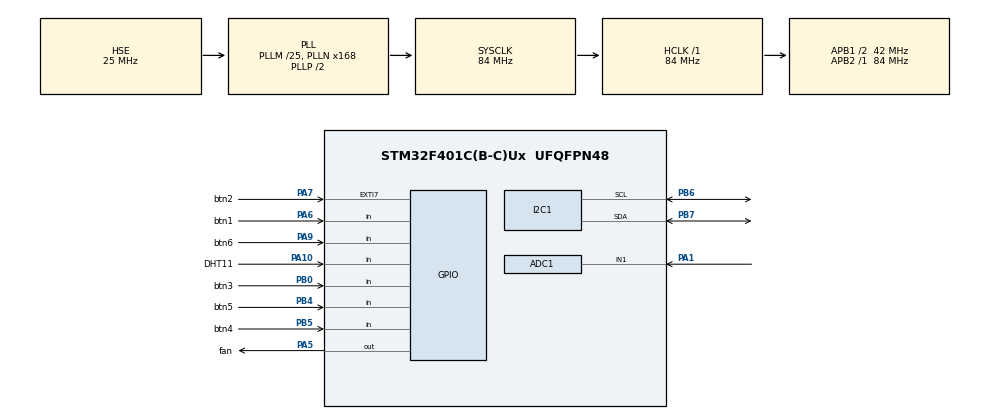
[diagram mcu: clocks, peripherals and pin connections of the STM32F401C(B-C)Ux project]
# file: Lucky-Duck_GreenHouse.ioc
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ADC1.Channel-3\#ChannelRegularConversion=ADC_CHANNEL_1
ADC1.ContinuousConvMode=ENABLE
ADC1.EOCSelection=ADC_EOC_SEQ_CONV
ADC1.NbrOfConversionFlag=1
ADC1.Rank-3\#ChannelRegularConversion=1
ADC1.Resolution=ADC_RESOLUTION_8B
ADC1.SamplingTime-3\#ChannelRegularConversion=ADC_SAMPLETIME_56CYCLES
ADC1.master=1
Mcu.Family=STM32F4
Mcu.Name=STM32F401C(B-C)Ux
Mcu.Package=UFQFPN48
NVIC.EXTI9_5_IRQn=true\:1\:0\:true\:false\:true\:true\:true\:true
NVIC.PriorityGroup=NVIC_PRIORITYGROUP_4
PA1.Signal=ADCx_IN1
PA10.GPIO_Label=DHT11
PA10.GPIO_PuPd=GPIO_NOPULL
PA10.Signal=GPIO_Input
PA13.Mode=Serial_Wire
PA13.Signal=SYS_JTMS-SWDIO
PA14.Mode=Serial_Wire
PA14.Signal=SYS_JTCK-SWCLK
PA5.GPIO_Label=fan
PA5.GPIO_Speed=GPIO_SPEED_FREQ_MEDIUM
PA5.Signal=GPIO_Output
PA6.GPIO_Label=btn1
PA6.GPIO_PuPd=GPIO_PULLUP
PA6.Signal=GPIO_Input
PA7.GPIO_Label=btn2
PA7.GPIO_PuPd=GPIO_PULLUP
PA7.Signal=GPXTI7
PA9.GPIO_Label=btn6
PA9.GPIO_PuPd=GPIO_PULLUP
PA9.Signal=GPIO_Input
PB0.GPIO_Label=btn3
PB0.GPIO_PuPd=GPIO_PULLUP
PB0.Signal=GPIO_Input
PB4.GPIO_Label=btn5
PB4.GPIO_PuPd=GPIO_PULLUP
PB4.Signal=GPIO_Input
PB5.GPIO_Label=btn4
PB5.GPIO_PuPd=GPIO_PULLUP
PB5.Signal=GPIO_Input
PB6.Mode=I2C
PB6.Signal=I2C1_SCL
PB7.Mode=I2C
PB7.Signal=I2C1_SDA
PC14-OSC32_IN.Mode=LSE-External-Oscillator
PC14-OSC32_IN.Signal=RCC_OSC32_IN
PC15-OSC32_OUT.Mode=LSE-External-Oscillator
PC15-OSC32_OUT.Signal=RCC_OSC32_OUT
PH0\ -\ OSC_IN.Mode=HSE-External-Oscillator
PH0\ -\ OSC_IN.Signal=RCC_OSC_IN
PH1\ -\ OSC_OUT.Mode=HSE-External-Oscillator
PH1\ -\ OSC_OUT.Signal=RCC_OSC_OUT
ProjectManager.HeapSize=0x200
ProjectManager.StackSize=0x400
ProjectManager.TargetToolchain=STM32CubeIDE
RCC.48MHZClocksFreq_Value=42000000
RCC.AHBFreq_Value=84000000
RCC.APB1CLKDivider=RCC_HCLK_DIV2
RCC.APB1Freq_Value=42000000
RCC.APB1TimFreq_Value=84000000
RCC.APB2Freq_Value=84000000
RCC.APB2TimFreq_Value=84000000
RCC.CortexFreq_Value=84000000
RCC.HCLKFreq_Value=84000000
RCC.HSE_VALUE=25000000
RCC.HSI_VALUE=16000000
RCC.PLLM=25
RCC.PLLN=168
RCC.PLLSourceVirtual=RCC_PLLSOURCE_HSE
RCC.SYSCLKFreq_VALUE=84000000
RCC.SYSCLKSource=RCC_SYSCLKSOURCE_PLLCLK
RCC.VCOOutputFreq_Value=168000000
RTC.Format=RTC_FORMAT_BIN
RTC.Hours=12
SH.ADCx_IN1.0=ADC1_IN1,IN1
TIM2.Period=0xffffffff -1
TIM2.Prescaler=84-1
VP_RTC_VS_RTC_Activate.Mode=RTC_Enabled
VP_RTC_VS_RTC_Calendar.Mode=RTC_Calendar
VP_TIM2_VS_ClockSourceINT.Mode=Internal
board=custom

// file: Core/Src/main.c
/* USER CODE BEGIN Header */
/**
 ******************************************************************************
 * @file           : main.c
 * @brief          : Main program body
 ******************************************************************************
 * @attention
 *
 * Copyright (c) 2024 STMicroelectronics.
 * All rights reserved.
 *
 * This software is licensed under terms that can be found in the LICENSE file
 * in the root directory of this software component.
 * If no LICENSE file comes with this software, it is provided AS-IS.
 *
 ******************************************************************************
 */
/* USER CODE END Header */
#include "main.h"

/* USER CODE BEGIN Includes */
#include "ssd1306.h"
#include "ssd1306_fonts.h"
#include <stdio.h>
#include <stdbool.h>
#include "sensors.h"
#include "mk_dht11.h"
#include "time.h"
/* USER CODE END Includes */

/* USER CODE BEGIN PTD */
struct info {
	char infoName[18];
	int set_val_min, set_val_max;
};
/* USER CODE END PTD */

/* USER CODE BEGIN PD */
#define work_state 0
#define menu_state 1
/* USER CODE END PD */

ADC_HandleTypeDef hadc1;

I2C_HandleTypeDef hi2c1;

RTC_HandleTypeDef hrtc;

TIM_HandleTypeDef htim2;

/* USER CODE BEGIN PV */
char menu[30], flag_t = 20;
bool menu_f = false;
dht11_t dht;
char state = work_state;
int set_l = 0, set_temp = 0;
struct info temp = { "temp sensor", 24, 25 };
struct info light = { "light sensor", 15, 90 };
/* USER CODE END PV */

void SystemClock_Config(void);
static void MX_GPIO_Init(void);
static void MX_ADC1_Init(void);
static void MX_I2C1_Init(void);
static void MX_TIM2_Init(void);
static void MX_RTC_Init(void);
/* USER CODE BEGIN PFP */
void menu_show();
void main_show();
/* USER CODE END PFP */

int main(void) {

	/* MCU Configuration--------------------------------------------------------*/

	/* Reset of all peripherals, Initializes the Flash interface and the Systick. */
	HAL_Init();

	/* Configure the system clock */
	SystemClock_Config();

	/* Initialize all configured peripherals */
	MX_GPIO_Init();
	MX_ADC1_Init();
	MX_I2C1_Init();
	MX_TIM2_Init();
	MX_RTC_Init();
	/* USER CODE BEGIN 2 */
	HAL_ADC_Start(&hadc1);
	ssd1306_Init();
	init_dht11(&dht, &htim2, DHT11_GPIO_Port, DHT11_Pin);
	/* USER CODE END 2 */

	/* Infinite loop */
	while (1) {

		/* USER CODE BEGIN 3 */
		switch (state) {

		case work_state:
			menu[0] = '\0';
			ssd1306_SetCursor(0, 22);
			RTC_TimeTypeDef sTime = { 0 };
			sTime = get_time();
			sprintf(menu, "%2d:%2d:%2d", sTime.Hours, sTime.Minutes,
					sTime.Seconds);
			ssd1306_WriteString(menu, Font_7x10, White);

			if (state == work_state && flag_t != 20) {
				HAL_Delay(250);
				flag_t++;
			} else {
				flag_t = 0;
				main_show();
				if (dht.temperature > temp.set_val_max) {
					HAL_GPIO_WritePin(fan_GPIO_Port, fan_Pin, 1);
				} else if (dht.temperature < temp.set_val_min
						|| dht.temperature == temp.set_val_min) {
					HAL_GPIO_WritePin(fan_GPIO_Port, fan_Pin, 0);
				}
			}
			break;

		case menu_state:
			menu_show();
			HAL_Delay(10);
			break;
		}

		ssd1306_UpdateScreen();
	}
	/* USER CODE END 3 */
}

void SystemClock_Config(void) {
	RCC_OscInitTypeDef RCC_OscInitStruct = { 0 };
	RCC_ClkInitTypeDef RCC_ClkInitStruct = { 0 };

	/** Configure the main internal regulator output voltage
	 */
	__HAL_RCC_PWR_CLK_ENABLE();
	__HAL_PWR_VOLTAGESCALING_CONFIG(PWR_REGULATOR_VOLTAGE_SCALE2);

	/** Initializes the RCC Oscillators according to the specified parameters
	 * in the RCC_OscInitTypeDef structure.
	 */
	RCC_OscInitStruct.OscillatorType = RCC_OSCILLATORTYPE_LSI
			| RCC_OSCILLATORTYPE_HSE;
	RCC_OscInitStruct.HSEState = RCC_HSE_ON;
	RCC_OscInitStruct.LSIState = RCC_LSI_ON;
	RCC_OscInitStruct.PLL.PLLState = RCC_PLL_ON;
	RCC_OscInitStruct.PLL.PLLSource = RCC_PLLSOURCE_HSE;
	RCC_OscInitStruct.PLL.PLLM = 25;
	RCC_OscInitStruct.PLL.PLLN = 168;
	RCC_OscInitStruct.PLL.PLLP = RCC_PLLP_DIV2;
	RCC_OscInitStruct.PLL.PLLQ = 4;
	if (HAL_RCC_OscConfig(&RCC_OscInitStruct) != HAL_OK) {
		Error_Handler();
	}

	/** Initializes the CPU, AHB and APB buses clocks
	 */
	RCC_ClkInitStruct.ClockType = RCC_CLOCKTYPE_HCLK | RCC_CLOCKTYPE_SYSCLK
			| RCC_CLOCKTYPE_PCLK1 | RCC_CLOCKTYPE_PCLK2;
	RCC_ClkInitStruct.SYSCLKSource = RCC_SYSCLKSOURCE_PLLCLK;
	RCC_ClkInitStruct.AHBCLKDivider = RCC_SYSCLK_DIV1;
	RCC_ClkInitStruct.APB1CLKDivider = RCC_HCLK_DIV2;
	RCC_ClkInitStruct.APB2CLKDivider = RCC_HCLK_DIV1;

	if (HAL_RCC_ClockConfig(&RCC_ClkInitStruct, FLASH_LATENCY_2) != HAL_OK) {
		Error_Handler();
	}
}

static void MX_ADC1_Init(void) {

	ADC_ChannelConfTypeDef sConfig = { 0 };

	/** Configure the global features of the ADC (Clock, Resolution, Data Alignment and number of conversion)
	 */
	hadc1.Instance = ADC1;
	hadc1.Init.ClockPrescaler = ADC_CLOCK_SYNC_PCLK_DIV4;
	hadc1.Init.Resolution = ADC_RESOLUTION_8B;
	hadc1.Init.ScanConvMode = DISABLE;
	hadc1.Init.ContinuousConvMode = ENABLE;
	hadc1.Init.DiscontinuousConvMode = DISABLE;
	hadc1.Init.ExternalTrigConvEdge = ADC_EXTERNALTRIGCONVEDGE_NONE;
	hadc1.Init.ExternalTrigConv = ADC_SOFTWARE_START;
	hadc1.Init.DataAlign = ADC_DATAALIGN_RIGHT;
	hadc1.Init.NbrOfConversion = 1;
	hadc1.Init.DMAContinuousRequests = DISABLE;
	hadc1.Init.EOCSelection = ADC_EOC_SEQ_CONV;
	if (HAL_ADC_Init(&hadc1) != HAL_OK) {
		Error_Handler();
	}

	/** Configure for the selected ADC regular channel its corresponding rank in the sequencer and its sample time.
	 */
	sConfig.Channel = ADC_CHANNEL_1;
	sConfig.Rank = 1;
	sConfig.SamplingTime = ADC_SAMPLETIME_56CYCLES;
	if (HAL_ADC_ConfigChannel(&hadc1, &sConfig) != HAL_OK) {
		Error_Handler();
	}

}

static void MX_I2C1_Init(void) {

	hi2c1.Instance = I2C1;
	hi2c1.Init.ClockSpeed = 100000;
	hi2c1.Init.DutyCycle = I2C_DUTYCYCLE_2;
	hi2c1.Init.OwnAddress1 = 0;
	hi2c1.Init.AddressingMode = I2C_ADDRESSINGMODE_7BIT;
	hi2c1.Init.DualAddressMode = I2C_DUALADDRESS_DISABLE;
	hi2c1.Init.OwnAddress2 = 0;
	hi2c1.Init.GeneralCallMode = I2C_GENERALCALL_DISABLE;
	hi2c1.Init.NoStretchMode = I2C_NOSTRETCH_DISABLE;
	if (HAL_I2C_Init(&hi2c1) != HAL_OK) {
		Error_Handler();
	}

}

static void MX_RTC_Init(void) {

	RTC_TimeTypeDef sTime = { 0 };
	RTC_DateTypeDef sDate = { 0 };

	/** Initialize RTC Only
	 */
	hrtc.Instance = RTC;
	hrtc.Init.HourFormat = RTC_HOURFORMAT_24;
	hrtc.Init.AsynchPrediv = 127;
	hrtc.Init.SynchPrediv = 255;
	hrtc.Init.OutPut = RTC_OUTPUT_DISABLE;
	hrtc.Init.OutPutPolarity = RTC_OUTPUT_POLARITY_HIGH;
	hrtc.Init.OutPutType = RTC_OUTPUT_TYPE_OPENDRAIN;
	if (HAL_RTC_Init(&hrtc) != HAL_OK) {
		Error_Handler();
	}

	/** Initialize RTC and set the Time and Date
	 */
	sTime.Hours = 12;
	sTime.Minutes = 0;
	sTime.Seconds = 0;
	sTime.DayLightSaving = RTC_DAYLIGHTSAVING_NONE;
	sTime.StoreOperation = RTC_STOREOPERATION_RESET;
	if (HAL_RTC_SetTime(&hrtc, &sTime, RTC_FORMAT_BIN) != HAL_OK) {
		Error_Handler();
	}
	sDate.WeekDay = RTC_WEEKDAY_MONDAY;
	sDate.Month = RTC_MONTH_JANUARY;
	sDate.Date = 1;
	sDate.Year = 0;

	if (HAL_RTC_SetDate(&hrtc, &sDate, RTC_FORMAT_BIN) != HAL_OK) {
		Error_Handler();
	}

}

static void MX_TIM2_Init(void) {

	TIM_ClockConfigTypeDef sClockSourceConfig = { 0 };
	TIM_MasterConfigTypeDef sMasterConfig = { 0 };

	htim2.Instance = TIM2;
	htim2.Init.Prescaler = 84 - 1;
	htim2.Init.CounterMode = TIM_COUNTERMODE_UP;
	htim2.Init.Period = 0xffffffff - 1;
	htim2.Init.ClockDivision = TIM_CLOCKDIVISION_DIV1;
	htim2.Init.AutoReloadPreload = TIM_AUTORELOAD_PRELOAD_DISABLE;
	if (HAL_TIM_Base_Init(&htim2) != HAL_OK) {
		Error_Handler();
	}
	sClockSourceConfig.ClockSource = TIM_CLOCKSOURCE_INTERNAL;
	if (HAL_TIM_ConfigClockSource(&htim2, &sClockSourceConfig) != HAL_OK) {
		Error_Handler();
	}
	sMasterConfig.MasterOutputTrigger = TIM_TRGO_RESET;
	sMasterConfig.MasterSlaveMode = TIM_MASTERSLAVEMODE_DISABLE;
	if (HAL_TIMEx_MasterConfigSynchronization(&htim2, &sMasterConfig)
			!= HAL_OK) {
		Error_Handler();
	}

}

static void MX_GPIO_Init(void) {
	GPIO_InitTypeDef GPIO_InitStruct = { 0 };

	/* GPIO Ports Clock Enable */
	__HAL_RCC_GPIOC_CLK_ENABLE();
	__HAL_RCC_GPIOH_CLK_ENABLE();
	__HAL_RCC_GPIOA_CLK_ENABLE();
	__HAL_RCC_GPIOB_CLK_ENABLE();

	/*Configure GPIO pin Output Level */
	HAL_GPIO_WritePin(fan_GPIO_Port, fan_Pin, GPIO_PIN_RESET);

	/*Configure GPIO pin : fan_Pin */
	GPIO_InitStruct.Pin = fan_Pin;
	GPIO_InitStruct.Mode = GPIO_MODE_OUTPUT_PP;
	GPIO_InitStruct.Pull = GPIO_NOPULL;
	GPIO_InitStruct.Speed = GPIO_SPEED_FREQ_MEDIUM;
	HAL_GPIO_Init(fan_GPIO_Port, &GPIO_InitStruct);

	/*Configure GPIO pins : btn1_Pin btn6_Pin */
	GPIO_InitStruct.Pin = btn1_Pin | btn6_Pin;
	GPIO_InitStruct.Mode = GPIO_MODE_INPUT;
	GPIO_InitStruct.Pull = GPIO_PULLUP;
	HAL_GPIO_Init(GPIOA, &GPIO_InitStruct);

	/*Configure GPIO pin : btn2_Pin */
	GPIO_InitStruct.Pin = btn2_Pin;
	GPIO_InitStruct.Mode = GPIO_MODE_IT_RISING;
	GPIO_InitStruct.Pull = GPIO_PULLUP;
	HAL_GPIO_Init(btn2_GPIO_Port, &GPIO_InitStruct);

	/*Configure GPIO pins : btn3_Pin btn5_Pin btn4_Pin */
	GPIO_InitStruct.Pin = btn3_Pin | btn5_Pin | btn4_Pin;
	GPIO_InitStruct.Mode = GPIO_MODE_INPUT;
	GPIO_InitStruct.Pull = GPIO_PULLUP;
	HAL_GPIO_Init(GPIOB, &GPIO_InitStruct);

	/*Configure GPIO pin : DHT11_Pin */
	GPIO_InitStruct.Pin = DHT11_Pin;
	GPIO_InitStruct.Mode = GPIO_MODE_INPUT;
	GPIO_InitStruct.Pull = GPIO_NOPULL;
	HAL_GPIO_Init(DHT11_GPIO_Port, &GPIO_InitStruct);

	/* EXTI interrupt init*/
	HAL_NVIC_SetPriority(EXTI9_5_IRQn, 1, 0);
	HAL_NVIC_EnableIRQ(EXTI9_5_IRQn);

}

/* USER CODE BEGIN 4 */
void HAL_GPIO_EXTI_Callback(uint16_t GPIO_Pin) {
	if (GPIO_Pin == btn2_Pin) {
		state = (state == work_state ? menu_state : work_state);
		ssd1306_Fill(Black);    // Clear the screen
		ssd1306_UpdateScreen();
		HAL_Delay(100);
		if (state == menu_state) {
			menu_show();
		} else if (state == work_state) {
			main_show();
			flag_t = 10;
		}
		HAL_Delay(100);
		ssd1306_UpdateScreen();  // Update the screen once after drawing
		__HAL_GPIO_EXTI_CLEAR_IT(GPIO_Pin);
	}
}
/* USER CODE END 4 */

void Error_Handler(void) {
	__disable_irq();
	while (1) {
	}
}
